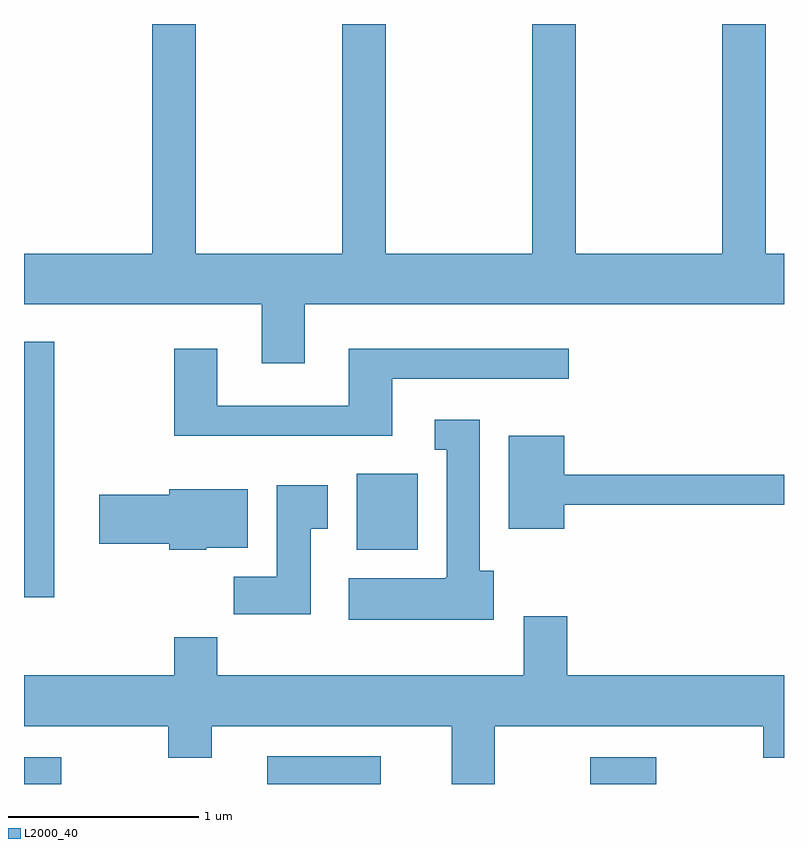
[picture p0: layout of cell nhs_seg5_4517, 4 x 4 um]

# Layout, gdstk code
import gdstk
lib = gdstk.Library(unit=1e-6, precision=1e-09)
def R(c, l, rs):  # rectangles x0, y0, x1, y1
    for r in rs: c.add(gdstk.rectangle(r[:2], r[2:], *l))
def P(c, l, *ps):  # polygons
    for p in ps: c.add(gdstk.Polygon(p, *l))
L2000_40 = (2000, 40)

nhs_seg5_4517 = lib.new_cell('nhs_seg5_4517')
R(nhs_seg5_4517, L2000_40, [(319.611,1432.072,319.808,1432.214), (320.891,1432.072,321.488,1432.219), (322.591,1432.072,322.938,1432.214), (319.611,1433.056,319.769,1434.399), (321.361,1433.306,321.684,1433.704)])
P(nhs_seg5_4517, L2000_40, [(321.089,1434.596),(323.611,1434.596),(323.611,1434.864),(323.514,1434.864),(323.514,1436.072),(323.286,1436.072),(323.286,1434.864),(322.514,1434.864),(322.514,1436.072),(322.286,1436.072),(322.286,1434.864),(321.514,1434.864),(321.514,1436.072),(321.286,1436.072),(321.286,1434.864),(320.514,1434.864),(320.514,1436.072),(320.286,1436.072),(320.286,1434.864),(319.611,1434.864),(319.611,1434.596),(320.861,1434.596),(320.861,1434.286),(321.089,1434.286)],
  [(321.549,1434.206),(322.478,1434.206),(322.478,1434.364),(321.321,1434.364),(321.321,1434.064),(320.629,1434.064),(320.629,1434.364),(320.401,1434.364),(320.401,1433.906),(321.549,1433.906)],
  [(322.084,1433.194),(322.009,1433.194),(322.009,1433.989),(321.773,1433.989),(321.773,1433.831),(321.836,1433.831),(321.836,1433.16),(321.83,1433.16),(321.83,1433.154),(321.321,1433.154),(321.321,1432.936),(322.084,1432.936)],
  [(322.454,1433.541),(323.611,1433.541),(323.611,1433.699),(322.454,1433.699),(322.454,1433.904),(322.161,1433.904),(322.161,1433.416),(322.454,1433.416)],
  [(321.119,1433.416),(321.209,1433.416),(321.209,1433.644),(320.941,1433.644),(320.941,1433.164),(320.716,1433.164),(320.716,1432.966),(321.119,1432.966)],
  [(320.57,1433.316),(320.789,1433.316),(320.789,1433.624),(320.376,1433.624),(320.376,1433.594),(320.006,1433.594),(320.006,1433.336),(320.376,1433.336),(320.376,1433.306),(320.57,1433.306)],
  [(320.629,1432.844),(320.401,1432.844),(320.401,1432.644),(319.611,1432.644),(319.611,1432.376),(320.371,1432.376),(320.371,1432.211),(320.599,1432.211),(320.599,1432.376),(321.861,1432.376),(321.861,1432.072),(322.089,1432.072),(322.089,1432.376),(323.501,1432.376),(323.501,1432.211),(323.611,1432.211),(323.611,1432.644),(322.469,1432.644),(322.469,1432.954),(322.241,1432.954),(322.241,1432.644),(320.629,1432.644)])

lib.write_gds('nhs_seg5_4517.gds')
